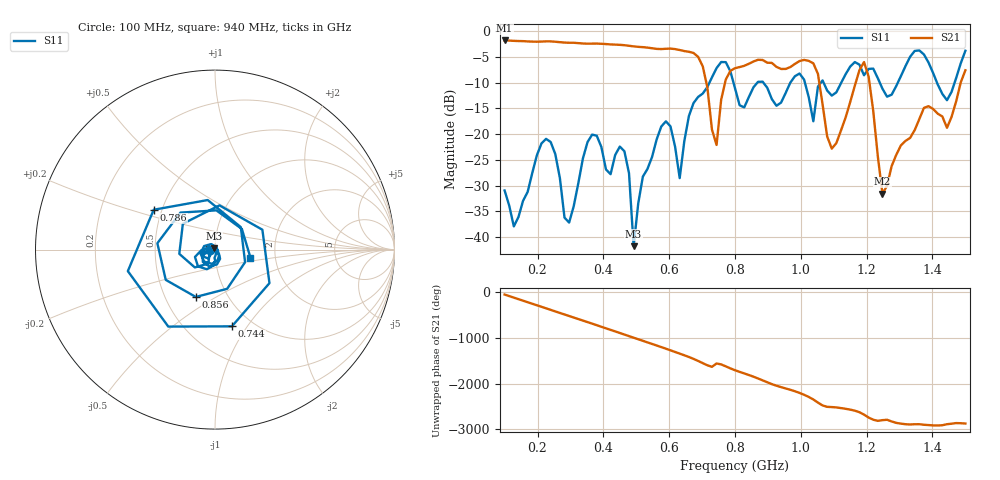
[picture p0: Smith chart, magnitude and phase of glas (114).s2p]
! NanoVNA-App
! Date: 2025-09-25 15:56:21
! Start: 100MHz Stop: 1,5GHz Points: 101
! S-Parameter data: F S11 S21 S12 S22
# Hz S RI R 50
!  Frequency  S11_Real  S11_Imag  S21_Real  S21_Imag  S12_Real  S12_Imag  S22_Real  S22_Imag
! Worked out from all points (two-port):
!   101 points, 100 MHz to 1.5 GHz, reference 50 ohm
!   highest |S21| = -1.80 dB at 100 MHz (marker M1); lowest = -31.6 dB at 1.248 GHz (marker M2)
!   |S21| within 3 dB of the highest: start of sweep to 684.5 MHz
!   lowest |S11| = -41.8 dB at 492 MHz (marker M3), VSWR 1.02, Z = 49.5 + j0.635 ohm
!   |S11| at or under -10 dB: start of sweep to 722.4 MHz; 795.4 MHz to 867.9 MHz (72.55 MHz wide, 8.72 % of centre); 886.2 MHz to 968.1 MHz (81.86 MHz wide, 8.83 % of centre) (the widest 3 of 7)
!   S12 and S22 are empty: the file has one direction only
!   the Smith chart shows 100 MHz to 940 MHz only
!   S11 on the Smith chart (normalised r, x): 100 MHz: 0.95, -0.01; 744 MHz: 0.81, -0.85; 786 MHz: 0.45, +0.24; 856 MHz: 0.71, -0.41; 940 MHz: 1.48, -0.14
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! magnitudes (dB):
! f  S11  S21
! 100 MHz  -31.0  -1.8
! 128 MHz  -37.9  -1.9
! 226 MHz  -20.9  -2.0
! 296 MHz  -37.2  -2.2
! 338 MHz  -24.7  -2.4
! 464 MHz  -23.3  -2.7
! 492 MHz  -41.8  -3.0
! 576 MHz  -18.5  -3.5
! 632 MHz  -28.6  -3.7
! 702 MHz  -12.1  -6.8
! 744 MHz  -7.2  -22.1
! 786 MHz  -7.8  -7.7
! 800 MHz  -11.1  -7.2
! 856 MHz  -10.9  -5.9
! 940 MHz  -13.9  -7.3
! 996 MHz  -8.2  -5.8
! 1.038 GHz  -17.5  -6.2
! 1.094 GHz  -12.5  -22.8
! 1.192 GHz  -8.6  -6.0
! 1.248 GHz  -11.2  -31.6
! 1.276 GHz  -12.3  -26.2
! 1.5 GHz  -3.8  -7.6
